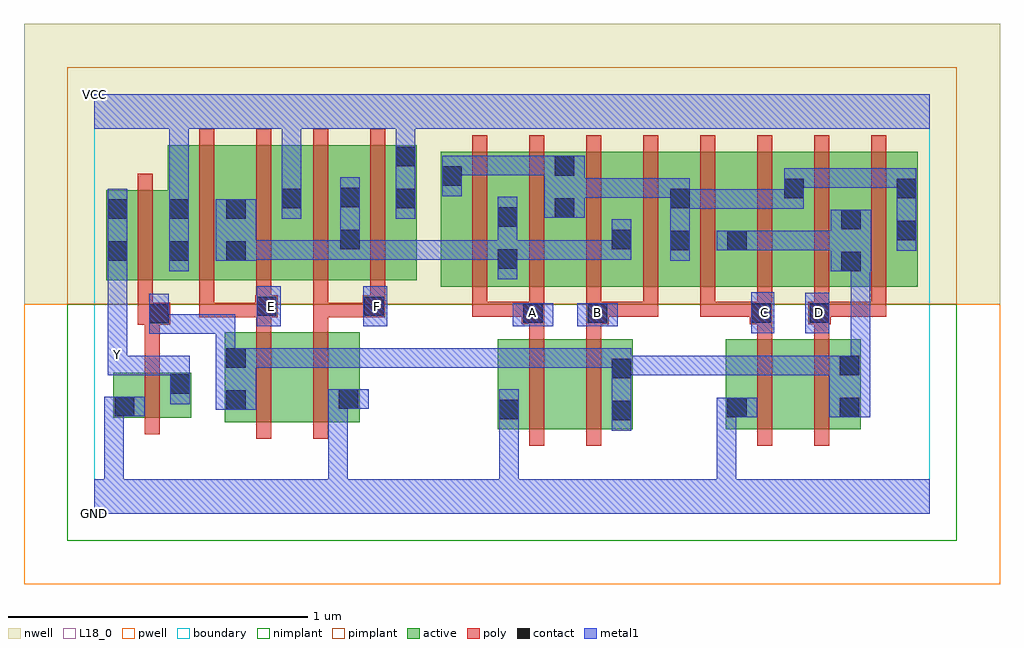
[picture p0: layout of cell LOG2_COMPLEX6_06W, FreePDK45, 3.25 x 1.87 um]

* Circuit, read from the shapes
.subckt LOG2_COMPLEX6_06W A B C D E F GND VCC Y
M1 Y n1 GND VSUBS nfet w=0.15u l=0.05u
M2 n2 E n1 VSUBS nfet w=0.3u l=0.05u
M3 GND F n2 VSUBS nfet w=0.3u l=0.05u
M4 n3 A GND VSUBS nfet w=0.3u l=0.05u
M5 n1 B n3 VSUBS nfet w=0.3u l=0.05u
M6 n4 C GND VSUBS nfet w=0.3u l=0.05u
M7 n1 D n4 VSUBS nfet w=0.3u l=0.05u
M8 VCC n1 Y n5 pfet w=0.3u l=0.05u
M9 n6 E VCC n5 pfet w=0.45u l=0.05u m=2
M10 n6 F VCC n5 pfet w=0.45u l=0.05u m=2
M11 n6 A n7 n5 pfet w=0.45u l=0.05u m=2
M12 n6 B n7 n5 pfet w=0.45u l=0.05u m=2
M13 n1 C n7 n5 pfet w=0.45u l=0.05u m=2
M14 n1 D n7 n5 pfet w=0.45u l=0.05u m=2
.ends

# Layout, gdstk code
import gdstk
lib = gdstk.Library(unit=1e-6, precision=1e-09)
def R(c, l, rs):  # rectangles x0, y0, x1, y1
    for r in rs: c.add(gdstk.rectangle(r[:2], r[2:], *l))
def A(c, l, x, y, w, h, nx, ny, dx, dy):  # array of equal rectangles
    R(c, l, [(x+i*dx, y+j*dy, x+i*dx+w, y+j*dy+h) for i in range(nx) for j in range(ny)])
active = (1, 0)
pwell = (2, 0)
nwell = (3, 0)
nimplant = (4, 0)
pimplant = (5, 0)
poly = (9, 0)
contact = (10, 0)
metal1 = (11, 0)
L18_0 = (18, 0)
boundary = (235, 0)

log2_complex6_06w = lib.new_cell('LOG2_COMPLEX6_06W')
A(log2_complex6_06w, active, 1.915, 0.757, 0.265, 0.45, 3, 1, 0.19, 0)
R(log2_complex6_06w, active, [(1.345,0.282,1.42,0.582), (1.345,0.282,1.57,0.582), (1.57,0.282,1.795,0.582), (2.105,0.282,2.18,0.582), (2.105,0.282,2.33,0.582), (2.33,0.282,2.555,0.582), (2.48,0.282,2.555,0.582), (0.435,0.305,0.51,0.605), (0.435,0.305,0.66,0.605), (0.66,0.305,0.885,0.605), (1.72,0.307,1.795,0.582), (0.062,0.32,0.137,0.47), (0.062,0.32,0.322,0.47), (0.247,0.32,0.322,0.47), (0.81,0.345,0.885,0.605), (1.155,0.757,1.23,1.2), (1.155,0.757,1.415,1.207), (1.34,0.757,1.605,1.207), (1.53,0.757,1.795,1.207), (1.72,0.757,1.99,1.207), (2.485,0.757,2.745,1.207), (2.67,0.757,2.745,1.2), (1.72,0.76,1.795,1.07), (1.915,0.76,1.99,1.2), (2.105,0.77,2.18,1.07), (0.04,0.78,0.115,1.055), (0.04,0.78,0.32,1.08), (0.245,0.78,0.51,1.23), (0.435,0.78,0.695,1.23), (0.62,0.78,0.89,1.23), (0.815,0.78,1.075,1.23), (1,0.78,1.075,1.23), (2.485,0.802,2.56,1.07), (1.34,0.812,1.415,1.07), (0.245,0.84,0.32,1.055), (0.435,0.84,0.51,1.2), (0.62,0.857,0.695,1.205), (0.815,0.857,0.89,1.2), (1.53,0.857,1.605,1.2), (2.295,0.857,2.37,1.2)])
R(log2_complex6_06w, pwell, [(-0.235,-0.235,3.02,0.7)])
R(log2_complex6_06w, nwell, [(-0.235,0.7,3.02,1.635)])
R(log2_complex6_06w, nimplant, [(-0.09,-0.09,2.875,0.7)])
R(log2_complex6_06w, pimplant, [(-0.09,0.7,2.875,1.49)])
A(log2_complex6_06w, poly, 1.26, 0.657, 0.05, 0.095, 8, 1, 0.19, 0)
A(log2_complex6_06w, poly, 1.26, 0.702, 0.05, 0.56, 8, 1, 0.19, 0)
A(log2_complex6_06w, poly, 0.35, 0.725, 0.05, 0.56, 4, 1, 0.19, 0)
R(log2_complex6_06w, poly, [(1.45,0.227,1.5,0.637), (1.64,0.227,1.69,0.637), (2.21,0.227,2.26,0.637), (2.4,0.227,2.45,0.637), (0.54,0.25,0.59,0.66), (0.73,0.25,0.78,0.66), (0.167,0.265,0.217,0.525), (0.167,0.475,0.217,0.68), (1.45,0.587,1.5,0.682), (1.64,0.587,1.69,0.682), (2.21,0.587,2.26,0.682), (2.4,0.587,2.45,0.682), (0.54,0.61,0.59,0.705), (0.73,0.61,0.78,0.705), (0.145,0.63,0.252,0.705), (1.425,0.632,1.5,0.707), (1.64,0.632,1.715,0.707), (2.185,0.632,2.26,0.707), (2.38,0.632,2.455,0.707), (0.145,0.655,0.195,0.775), (0.35,0.655,0.4,0.705), (0.35,0.655,0.4,0.775), (0.35,0.655,0.587,0.705), (0.537,0.655,0.587,0.705), (0.537,0.655,0.587,0.705), (0.537,0.655,0.612,0.73), (0.73,0.655,0.78,0.705), (0.73,0.655,0.945,0.705), (0.73,0.655,0.78,0.775), (0.895,0.655,0.945,0.705), (0.895,0.655,0.945,0.705), (0.895,0.655,0.97,0.73), (1.26,0.657,1.31,0.707), (1.26,0.657,1.475,0.707), (1.425,0.657,1.475,0.707), (1.425,0.657,1.475,0.707), (1.665,0.657,1.88,0.707), (1.83,0.657,1.88,0.707), (1.83,0.657,1.88,0.707), (1.83,0.657,1.88,0.707), (2.02,0.657,2.07,0.707), (2.02,0.657,2.235,0.707), (2.185,0.657,2.235,0.707), (2.185,0.657,2.235,0.707), (2.405,0.657,2.64,0.707), (2.59,0.657,2.64,0.707), (2.59,0.657,2.64,0.707), (2.59,0.657,2.64,0.707), (0.54,0.68,0.59,0.775), (0.92,0.68,0.97,0.775), (0.145,0.725,0.195,1.135)])
R(log2_complex6_06w, contact, [(1.725,0.312,1.79,0.377), (1.35,0.315,1.415,0.38), (2.11,0.322,2.175,0.387), (2.485,0.322,2.55,0.387), (0.067,0.325,0.132,0.39), (0.44,0.347,0.505,0.412), (0.815,0.35,0.88,0.415), (0.252,0.4,0.317,0.465), (1.725,0.452,1.79,0.517), (2.485,0.462,2.55,0.527), (0.44,0.487,0.505,0.552), (0.182,0.635,0.247,0.7), (1.43,0.637,1.495,0.702), (1.645,0.637,1.71,0.702), (2.19,0.637,2.255,0.702), (2.385,0.637,2.45,0.702), (0.542,0.66,0.607,0.725), (0.9,0.66,0.965,0.725), (2.49,0.81,2.555,0.875), (1.345,0.817,1.41,0.882), (0.045,0.845,0.11,0.91), (0.25,0.845,0.315,0.91), (0.44,0.845,0.505,0.91), (1.92,0.88,1.985,0.945), (2.11,0.88,2.175,0.945), (0.82,0.882,0.885,0.947), (1.725,0.882,1.79,0.947), (2.675,0.912,2.74,0.977), (2.49,0.95,2.555,1.015), (1.345,0.957,1.41,1.022), (0.045,0.985,0.11,1.05), (0.25,0.985,0.315,1.05), (0.44,0.985,0.505,1.05), (1.535,0.987,1.6,1.052), (0.625,1.02,0.69,1.085), (1.005,1.02,1.07,1.085), (1.92,1.02,1.985,1.085), (0.82,1.022,0.885,1.087), (2.3,1.052,2.365,1.117), (2.675,1.052,2.74,1.117), (1.16,1.095,1.225,1.16), (1.535,1.127,1.6,1.192), (1.005,1.16,1.07,1.225)])
R(log2_complex6_06w, metal1, [(0,0,2.785,0.115), (0.032,0.05,0.097,0.115), (0.032,0.05,0.097,0.115), (0.032,0.05,0.097,0.115), (0.032,0.05,0.097,0.115), (0.032,0.05,0.097,0.39), (0.78,0.05,0.845,0.115), (0.78,0.05,0.845,0.115), (0.78,0.05,0.845,0.115), (0.78,0.05,0.845,0.115), (0.78,0.05,0.845,0.415), (1.35,0.05,1.415,0.115), (1.35,0.05,1.415,0.115), (1.35,0.05,1.415,0.115), (1.35,0.05,1.415,0.115), (1.35,0.05,1.415,0.345), (2.075,0.05,2.14,0.115), (2.075,0.05,2.14,0.115), (2.075,0.05,2.14,0.115), (2.075,0.05,2.14,0.115), (2.075,0.05,2.14,0.387), (1.725,0.277,1.79,0.552), (1.35,0.28,1.415,0.415), (2.075,0.322,2.21,0.387), (2.45,0.322,2.587,0.527), (0.032,0.325,0.097,0.39), (0.032,0.325,0.097,0.39), (0.032,0.325,0.167,0.39), (0.405,0.347,0.54,0.552), (0.78,0.35,0.915,0.415), (0.252,0.365,0.317,0.5), (0.252,0.435,0.317,0.5), (0.252,0.435,0.317,0.527), (0.045,0.462,0.11,0.527), (0.045,0.462,0.11,0.527), (0.045,0.462,0.11,0.597), (0.045,0.462,0.317,0.527), (1.725,0.462,1.935,0.527), (1.87,0.462,1.935,0.527), (1.87,0.462,1.935,0.527), (1.87,0.462,1.935,0.527), (1.87,0.462,2.072,0.527), (2.007,0.462,2.072,0.527), (2.007,0.462,2.217,0.527), (2.152,0.462,2.217,0.527), (2.152,0.462,2.217,0.527), (2.152,0.462,2.217,0.527), (2.152,0.462,2.377,0.527), (2.312,0.462,2.377,0.527), (2.312,0.462,2.377,0.527), (2.312,0.462,2.377,0.527), (2.312,0.462,2.515,0.527), (2.522,0.462,2.587,0.875), (0.405,0.487,0.47,0.665), (0.475,0.487,0.607,0.552), (0.542,0.487,0.607,0.552), (0.542,0.487,0.707,0.552), (0.642,0.487,0.707,0.552), (0.642,0.487,0.825,0.552), (0.76,0.487,0.825,0.552), (0.76,0.487,0.845,0.552), (0.78,0.487,0.845,0.552), (0.78,0.487,1.087,0.552), (1.022,0.487,1.087,0.552), (1.022,0.487,1.087,0.552), (1.022,0.487,1.087,0.552), (1.022,0.487,1.272,0.552), (1.207,0.487,1.272,0.552), (1.207,0.487,1.272,0.552), (1.207,0.487,1.272,0.552), (1.207,0.487,1.427,0.552), (1.362,0.487,1.427,0.552), (1.362,0.487,1.427,0.552), (1.362,0.487,1.427,0.552), (1.362,0.487,1.635,0.552), (1.57,0.487,1.635,0.552), (1.57,0.487,1.79,0.552), (1.725,0.487,1.79,0.552), (1.725,0.487,1.79,0.552), (0.045,0.532,0.11,0.875), (0.182,0.6,0.247,0.665), (0.182,0.6,0.247,0.665), (0.182,0.6,0.247,0.735), (0.182,0.6,0.47,0.665), (0.405,0.6,0.47,0.665), (0.405,0.6,0.47,0.665), (0.405,0.6,0.47,0.665), (2.19,0.602,2.267,0.74), (2.37,0.602,2.45,0.737), (0.542,0.625,0.622,0.76), (0.897,0.625,0.977,0.76), (1.395,0.625,1.53,0.702), (1.61,0.625,1.745,0.702), (1.345,0.782,1.41,1.057), (0.045,0.81,0.11,1.085), (0.25,0.81,0.315,1.085), (2.455,0.81,2.59,1.015), (2.522,0.81,2.587,0.875), (2.522,0.81,2.587,0.875), (0.405,0.845,0.54,1.05), (1.92,0.845,1.985,1.12), (0.475,0.847,0.607,0.912), (0.542,0.847,0.607,0.912), (0.542,0.847,0.707,0.912), (0.642,0.847,0.707,0.912), (0.642,0.847,0.825,0.912), (0.76,0.847,0.825,0.912), (0.76,0.847,0.885,0.912), (0.82,0.847,0.885,1.122), (0.82,0.847,1.087,0.912), (1.022,0.847,1.087,0.912), (1.022,0.847,1.087,0.912), (1.022,0.847,1.087,0.912), (1.022,0.847,1.272,0.912), (1.207,0.847,1.272,0.912), (1.207,0.847,1.272,0.912), (1.207,0.847,1.272,0.912), (1.207,0.847,1.41,0.912), (1.345,0.847,1.41,0.912), (1.345,0.847,1.41,0.912), (1.345,0.847,1.635,0.912), (1.57,0.847,1.635,0.912), (1.57,0.847,1.79,0.912), (1.725,0.847,1.79,0.912), (1.725,0.847,1.79,0.912), (1.725,0.847,1.79,0.982), (2.675,0.877,2.74,1.152), (2.075,0.88,2.21,0.945), (2.145,0.88,2.21,0.945), (2.145,0.88,2.21,0.945), (2.145,0.88,2.377,0.945), (2.312,0.88,2.377,0.945), (2.312,0.88,2.377,0.945), (2.312,0.88,2.377,0.945), (2.312,0.88,2.52,0.945), (0.625,0.985,0.69,1.12), (1.005,0.985,1.07,1.26), (1.5,0.987,1.635,1.195), (1.92,1.017,2.072,1.082), (2.007,1.017,2.072,1.082), (2.007,1.017,2.21,1.082), (2.145,1.017,2.21,1.082), (2.145,1.017,2.21,1.082), (2.145,1.017,2.21,1.082), (2.145,1.017,2.365,1.082), (2.3,1.017,2.365,1.152), (0.25,1.02,0.315,1.35), (0.625,1.055,0.69,1.35), (1.57,1.055,1.635,1.12), (1.57,1.055,1.635,1.12), (1.57,1.055,1.772,1.12), (1.707,1.055,1.772,1.12), (1.707,1.055,1.927,1.12), (1.862,1.055,1.927,1.12), (1.862,1.055,1.985,1.12), (1.16,1.06,1.225,1.195), (2.3,1.087,2.515,1.152), (2.45,1.087,2.515,1.152), (2.45,1.087,2.515,1.152), (2.45,1.087,2.515,1.152), (2.45,1.087,2.74,1.152), (2.675,1.087,2.74,1.152), (2.675,1.087,2.74,1.152), (1.16,1.13,1.225,1.195), (1.16,1.13,1.225,1.195), (1.16,1.13,1.427,1.195), (1.362,1.13,1.427,1.195), (1.362,1.13,1.427,1.195), (1.362,1.13,1.427,1.195), (1.362,1.13,1.565,1.195), (1.005,1.195,1.07,1.35), (0,1.285,2.785,1.4)])
R(log2_complex6_06w, L18_0, [(0,0,2.785,0.115), (0.032,0.05,0.097,0.115), (0.032,0.05,0.097,0.115), (0.032,0.05,0.097,0.115), (0.032,0.05,0.097,0.115), (0.032,0.05,0.097,0.39), (0.78,0.05,0.845,0.115), (0.78,0.05,0.845,0.115), (0.78,0.05,0.845,0.115), (0.78,0.05,0.845,0.115), (0.78,0.05,0.845,0.415), (1.35,0.05,1.415,0.115), (1.35,0.05,1.415,0.115), (1.35,0.05,1.415,0.115), (1.35,0.05,1.415,0.115), (1.35,0.05,1.415,0.345), (2.075,0.05,2.14,0.115), (2.075,0.05,2.14,0.115), (2.075,0.05,2.14,0.115), (2.075,0.05,2.14,0.115), (2.075,0.05,2.14,0.387), (1.35,0.28,1.415,0.415), (2.075,0.322,2.21,0.387), (0.032,0.325,0.097,0.39), (0.032,0.325,0.097,0.39), (0.032,0.325,0.167,0.39), (0.78,0.35,0.915,0.415), (0.252,0.365,0.317,0.5), (0.252,0.435,0.317,0.5), (0.252,0.435,0.317,0.527), (0.045,0.462,0.11,0.527), (0.045,0.462,0.11,0.527), (0.045,0.462,0.11,0.597), (0.045,0.462,0.317,0.527), (0.045,0.497,0.11,0.562), (0.045,0.532,0.11,0.875), (2.19,0.602,2.267,0.74), (2.37,0.602,2.45,0.737), (0.542,0.625,0.622,0.76), (0.897,0.625,0.977,0.76), (1.395,0.625,1.53,0.702), (1.61,0.625,1.745,0.702), (1.43,0.637,1.495,0.702), (1.645,0.637,1.71,0.702), (2.385,0.637,2.45,0.702), (2.202,0.64,2.267,0.705), (0.557,0.66,0.622,0.725), (0.912,0.66,0.977,0.725), (0.045,0.81,0.11,1.085), (0.25,0.81,0.315,1.085), (0.625,0.985,0.69,1.12), (1.005,0.985,1.07,1.26), (0.25,1.02,0.315,1.35), (0.625,1.055,0.69,1.35), (1.005,1.195,1.07,1.35), (0,1.285,2.785,1.4)])
R(log2_complex6_06w, boundary, [(0,0,2.785,1.4)])
log2_complex6_06w.add(gdstk.Label('A', (1.462,0.67), layer=11, texttype=0))
log2_complex6_06w.add(gdstk.Label('B', (1.677,0.67), layer=11, texttype=0))
log2_complex6_06w.add(gdstk.Label('C', (2.235,0.672), layer=11, texttype=0))
log2_complex6_06w.add(gdstk.Label('D', (2.417,0.67), layer=11, texttype=0))
log2_complex6_06w.add(gdstk.Label('E', (0.59,0.692), layer=11, texttype=0))
log2_complex6_06w.add(gdstk.Label('F', (0.945,0.692), layer=11, texttype=0))
log2_complex6_06w.add(gdstk.Label('Y', (0.077,0.53), layer=11, texttype=0))
log2_complex6_06w.add(gdstk.Label('VCC', (0,1.4), layer=11, texttype=0))
log2_complex6_06w.add(gdstk.Label('GND', (0,0), layer=11, texttype=0))

lib.write_gds('LOG2_COMPLEX6_06W.gds')
